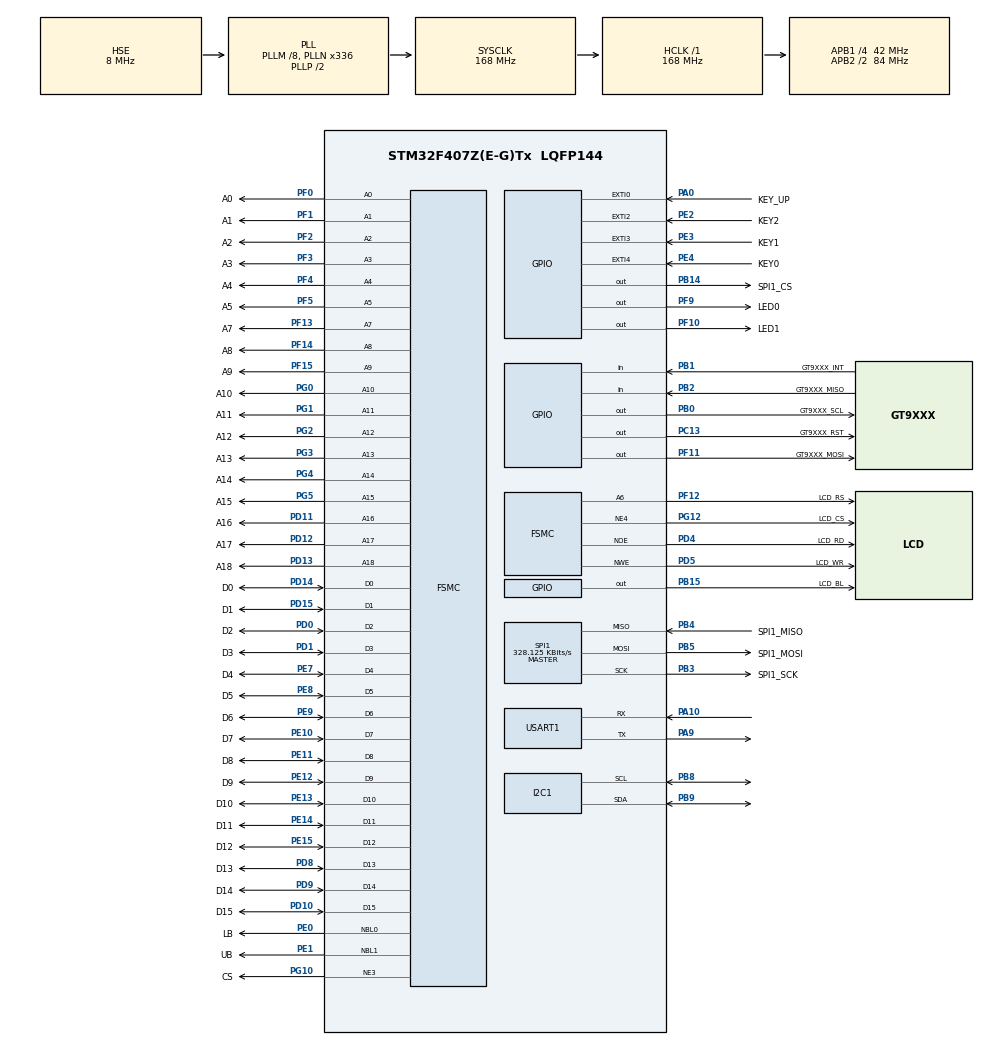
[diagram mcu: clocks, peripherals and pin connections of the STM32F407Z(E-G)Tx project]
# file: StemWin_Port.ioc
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FSMC.AddressSetupTime1=2
FSMC.BusTurnAroundDuration1=0
FSMC.DataSetupTime1=8
FSMC.DataSetupTime2=60
FSMC.ExtendedAddressSetupTime2=9
FSMC.ExtendedDataSetupTime2=9
FSMC.ExtendedMode2=FSMC_EXTENDED_MODE_ENABLE
FSMC.WriteOperation1=FSMC_WRITE_OPERATION_ENABLE
Mcu.Family=STM32F4
Mcu.Name=STM32F407Z(E-G)Tx
Mcu.Package=LQFP144
NVIC.EXTI0_IRQn=true\:3\:1\:true\:false\:true\:true\:true
NVIC.EXTI2_IRQn=true\:3\:1\:true\:false\:true\:true\:true
NVIC.EXTI3_IRQn=true\:3\:1\:true\:false\:true\:true\:true
NVIC.EXTI4_IRQn=true\:3\:1\:true\:false\:true\:true\:true
NVIC.PriorityGroup=NVIC_PRIORITYGROUP_2
NVIC.TIM6_DAC_IRQn=true\:1\:3\:true\:false\:true\:true\:true
PA0-WKUP.GPIO_Label=KEY_UP
PA0-WKUP.GPIO_ModeDefaultEXTI=GPIO_MODE_IT_RISING
PA0-WKUP.GPIO_PuPd=GPIO_PULLDOWN
PA0-WKUP.Signal=GPXTI0
PA10.Mode=Asynchronous
PA10.Signal=USART1_RX
PA13.Mode=Serial_Wire
PA13.Signal=SYS_JTMS-SWDIO
PA14.Mode=Serial_Wire
PA14.Signal=SYS_JTCK-SWCLK
PA9.Mode=Asynchronous
PA9.Signal=USART1_TX
PB0.GPIO_Label=GT9XXX_SCL
PB0.GPIO_PuPd=GPIO_PULLUP
PB0.GPIO_Speed=GPIO_SPEED_FREQ_VERY_HIGH
PB0.Signal=GPIO_Output
PB1.GPIO_Label=GT9XXX_INT
PB1.Signal=GPIO_Input
PB14.GPIO_Label=SPI1_CS
PB14.GPIO_PuPd=GPIO_PULLUP
PB14.GPIO_Speed=GPIO_SPEED_FREQ_HIGH
PB14.PinState=GPIO_PIN_SET
PB14.Signal=GPIO_Output
PB15.GPIO_Label=LCD_BL
PB15.GPIO_PuPd=GPIO_PULLDOWN
PB15.GPIO_Speed=GPIO_SPEED_FREQ_HIGH
PB15.PinState=GPIO_PIN_SET
PB15.Signal=GPIO_Output
PB2.GPIO_Label=GT9XXX_MISO
PB2.GPIO_PuPd=GPIO_PULLUP
PB2.Signal=GPIO_Input
PB3.GPIO_Label=SPI1_SCK
PB3.GPIO_PuPd=GPIO_PULLUP
PB3.Mode=Full_Duplex_Master
PB3.Signal=SPI1_SCK
PB4.GPIO_Label=SPI1_MISO
PB4.GPIO_PuPd=GPIO_PULLUP
PB4.Mode=Full_Duplex_Master
PB4.Signal=SPI1_MISO
PB5.GPIO_Label=SPI1_MOSI
PB5.GPIO_PuPd=GPIO_PULLUP
PB5.Mode=Full_Duplex_Master
PB5.Signal=SPI1_MOSI
PB8.Mode=I2C
PB8.Signal=I2C1_SCL
PB9.Mode=I2C
PB9.Signal=I2C1_SDA
PC13-ANTI_TAMP.GPIO_Label=GT9XXX_RST
PC13-ANTI_TAMP.GPIO_PuPd=GPIO_PULLUP
PC13-ANTI_TAMP.Signal=GPIO_Output
PD0.GPIO_Label=D2
PD0.GPIO_PuPd=GPIO_PULLUP
PD0.Signal=FSMC_D2_DA2
PD1.GPIO_Label=D3
PD1.GPIO_PuPd=GPIO_PULLUP
PD1.Signal=FSMC_D3_DA3
PD10.GPIO_Label=D15
PD10.GPIO_PuPd=GPIO_PULLUP
PD10.Signal=FSMC_D15_DA15
PD11.GPIO_Label=A16
PD11.GPIO_PuPd=GPIO_PULLUP
PD11.Signal=FSMC_A16_CLE
PD12.GPIO_Label=A17
PD12.GPIO_PuPd=GPIO_PULLUP
PD12.Signal=FSMC_A17_ALE
PD13.GPIO_Label=A18
PD13.GPIO_PuPd=GPIO_PULLUP
PD13.Signal=FSMC_A18
PD14.GPIO_Label=D0
PD14.GPIO_PuPd=GPIO_PULLUP
PD14.Signal=FSMC_D0_DA0
PD15.GPIO_Label=D1
PD15.GPIO_PuPd=GPIO_PULLUP
PD15.Signal=FSMC_D1_DA1
PD4.GPIO_Label=LCD_RD
PD4.GPIO_PuPd=GPIO_PULLUP
PD4.Signal=FSMC_NOE
PD5.GPIO_Label=LCD_WR
PD5.GPIO_PuPd=GPIO_PULLUP
PD5.Signal=FSMC_NWE
PD8.GPIO_Label=D13
PD8.GPIO_PuPd=GPIO_PULLUP
PD8.Signal=FSMC_D13_DA13
PD9.GPIO_Label=D14
PD9.GPIO_PuPd=GPIO_PULLUP
PD9.Signal=FSMC_D14_DA14
PE0.GPIO_Label=LB
PE0.GPIO_PuPd=GPIO_PULLUP
PE0.Signal=FSMC_NBL0
PE1.GPIO_Label=UB
PE1.GPIO_PuPd=GPIO_PULLUP
PE1.Signal=FSMC_NBL1
PE10.GPIO_Label=D7
PE10.GPIO_PuPd=GPIO_PULLUP
PE10.Signal=FSMC_D7_DA7
PE11.GPIO_Label=D8
PE11.GPIO_PuPd=GPIO_PULLUP
PE11.Signal=FSMC_D8_DA8
PE12.GPIO_Label=D9
PE12.GPIO_PuPd=GPIO_PULLUP
PE12.Signal=FSMC_D9_DA9
PE13.GPIO_Label=D10
PE13.GPIO_PuPd=GPIO_PULLUP
PE13.Signal=FSMC_D10_DA10
PE14.GPIO_Label=D11
PE14.GPIO_PuPd=GPIO_PULLUP
PE14.Signal=FSMC_D11_DA11
PE15.GPIO_Label=D12
PE15.GPIO_PuPd=GPIO_PULLUP
PE15.Signal=FSMC_D12_DA12
PE2.GPIO_Label=KEY2
PE2.GPIO_ModeDefaultEXTI=GPIO_MODE_IT_FALLING
PE2.GPIO_PuPd=GPIO_PULLUP
PE2.Signal=GPXTI2
PE3.GPIO_Label=KEY1
PE3.GPIO_ModeDefaultEXTI=GPIO_MODE_IT_FALLING
PE3.GPIO_PuPd=GPIO_PULLUP
PE3.Signal=GPXTI3
PE4.GPIO_Label=KEY0
PE4.GPIO_ModeDefaultEXTI=GPIO_MODE_IT_FALLING
PE4.GPIO_PuPd=GPIO_PULLUP
PE4.Signal=GPXTI4
PE7.GPIO_Label=D4
PE7.GPIO_PuPd=GPIO_PULLUP
PE7.Signal=FSMC_D4_DA4
PE8.GPIO_Label=D5
PE8.GPIO_PuPd=GPIO_PULLUP
PE8.Signal=FSMC_D5_DA5
PE9.GPIO_Label=D6
PE9.GPIO_PuPd=GPIO_PULLUP
PE9.Signal=FSMC_D6_DA6
PF0.GPIO_Label=A0
PF0.GPIO_PuPd=GPIO_PULLUP
PF0.Signal=FSMC_A0
PF1.GPIO_Label=A1
PF1.GPIO_PuPd=GPIO_PULLUP
PF1.Signal=FSMC_A1
PF10.GPIO_Label=LED1
PF10.GPIO_PuPd=GPIO_PULLUP
PF10.PinState=GPIO_PIN_SET
PF10.Signal=GPIO_Output
PF11.GPIO_Label=GT9XXX_MOSI
PF11.GPIO_ModeDefaultOutputPP=GPIO_MODE_OUTPUT_OD
PF11.GPIO_PuPd=GPIO_PULLUP
PF11.GPIO_Speed=GPIO_SPEED_FREQ_VERY_HIGH
PF11.Signal=GPIO_Output
PF12.GPIO_Label=LCD_RS
PF12.GPIO_PuPd=GPIO_PULLUP
PF12.Signal=FSMC_A6
PF13.GPIO_Label=A7
PF13.GPIO_PuPd=GPIO_PULLUP
PF13.Signal=FSMC_A7
PF14.GPIO_Label=A8
PF14.GPIO_PuPd=GPIO_PULLUP
PF14.Signal=FSMC_A8
PF15.GPIO_Label=A9
PF15.GPIO_PuPd=GPIO_PULLUP
PF15.Signal=FSMC_A9
PF2.GPIO_Label=A2
PF2.Signal=FSMC_A2
PF3.GPIO_Label=A3
PF3.GPIO_PuPd=GPIO_PULLUP
PF3.Signal=FSMC_A3
PF4.GPIO_Label=A4
PF4.GPIO_PuPd=GPIO_PULLUP
PF4.Signal=FSMC_A4
PF5.GPIO_Label=A5
PF5.GPIO_PuPd=GPIO_PULLUP
PF5.Signal=FSMC_A5
PF9.GPIO_Label=LED0
PF9.GPIO_PuPd=GPIO_PULLUP
PF9.PinState=GPIO_PIN_SET
PF9.Signal=GPIO_Output
PG0.GPIO_Label=A10
PG0.GPIO_PuPd=GPIO_PULLUP
PG0.Signal=FSMC_A10
PG1.GPIO_Label=A11
PG1.GPIO_PuPd=GPIO_PULLUP
PG1.Signal=FSMC_A11
PG10.GPIO_Label=CS
PG10.GPIO_PuPd=GPIO_PULLUP
PG10.Mode=NorPsramChipSelect3_1
PG10.Signal=FSMC_NE3
PG12.GPIO_Label=LCD_CS
PG12.GPIO_PuPd=GPIO_PULLUP
PG12.GPIO_Speed_High_Default=GPIO_SPEED_FREQ_VERY_HIGH
PG12.Mode=NorPsramChipSelect4_2
PG12.Signal=FSMC_NE4
PG2.GPIO_Label=A12
PG2.GPIO_PuPd=GPIO_PULLUP
PG2.Signal=FSMC_A12
PG3.GPIO_Label=A13
PG3.GPIO_PuPd=GPIO_PULLUP
PG3.Signal=FSMC_A13
PG4.GPIO_Label=A14
PG4.GPIO_PuPd=GPIO_PULLUP
PG4.Signal=FSMC_A14
PG5.GPIO_Label=A15
PG5.GPIO_PuPd=GPIO_PULLUP
PG5.Signal=FSMC_A15
PH0-OSC_IN.Mode=HSE-External-Oscillator
PH0-OSC_IN.Signal=RCC_OSC_IN
PH1-OSC_OUT.Mode=HSE-External-Oscillator
PH1-OSC_OUT.Signal=RCC_OSC_OUT
ProjectManager.HeapSize=0x200
ProjectManager.StackSize=0x400
ProjectManager.TargetToolchain=MDK-ARM V5
RCC.48MHZClocksFreq_Value=84000000
RCC.AHBFreq_Value=168000000
RCC.APB1CLKDivider=RCC_HCLK_DIV4
RCC.APB1Freq_Value=42000000
RCC.APB1TimFreq_Value=84000000
RCC.APB2CLKDivider=RCC_HCLK_DIV2
RCC.APB2Freq_Value=84000000
RCC.APB2TimFreq_Value=168000000
RCC.CortexFreq_Value=168000000
RCC.HCLKFreq_Value=168000000
RCC.HSE_VALUE=8000000
RCC.HSI_VALUE=16000000
RCC.LSE_VALUE=32768
RCC.PLLM=8
RCC.PLLN=336
RCC.PLLSourceVirtual=RCC_PLLSOURCE_HSE
RCC.SYSCLKFreq_VALUE=168000000
RCC.SYSCLKSource=RCC_SYSCLKSOURCE_PLLCLK
RCC.VCOOutputFreq_Value=336000000
SH.FSMC_A0.0=FSMC_A0,19b-a1
SH.FSMC_A1.0=FSMC_A1,19b-a1
SH.FSMC_A10.0=FSMC_A10,19b-a1
SH.FSMC_A11.0=FSMC_A11,19b-a1
SH.FSMC_A12.0=FSMC_A12,19b-a1
SH.FSMC_A13.0=FSMC_A13,19b-a1
SH.FSMC_A14.0=FSMC_A14,19b-a1
SH.FSMC_A15.0=FSMC_A15,19b-a1
SH.FSMC_A16_CLE.0=FSMC_A16,19b-a1
SH.FSMC_A17_ALE.0=FSMC_A17,19b-a1
SH.FSMC_A18.0=FSMC_A18,19b-a1
SH.FSMC_A2.0=FSMC_A2,19b-a1
SH.FSMC_A3.0=FSMC_A3,19b-a1
SH.FSMC_A4.0=FSMC_A4,19b-a1
SH.FSMC_A5.0=FSMC_A5,19b-a1
SH.FSMC_A6.0=FSMC_A6,A6_2
SH.FSMC_A6.1=FSMC_A6,19b-a1
SH.FSMC_A7.0=FSMC_A7,19b-a1
SH.FSMC_A8.0=FSMC_A8,19b-a1
SH.FSMC_A9.0=FSMC_A9,19b-a1
SH.FSMC_D0_DA0.0=FSMC_D0,16b-d2
SH.FSMC_D0_DA0.1=FSMC_D0,16b-d1
SH.FSMC_D10_DA10.0=FSMC_D10,16b-d2
SH.FSMC_D10_DA10.1=FSMC_D10,16b-d1
SH.FSMC_D11_DA11.0=FSMC_D11,16b-d2
SH.FSMC_D11_DA11.1=FSMC_D11,16b-d1
SH.FSMC_D12_DA12.0=FSMC_D12,16b-d2
SH.FSMC_D12_DA12.1=FSMC_D12,16b-d1
SH.FSMC_D13_DA13.0=FSMC_D13,16b-d2
SH.FSMC_D13_DA13.1=FSMC_D13,16b-d1
SH.FSMC_D14_DA14.0=FSMC_D14,16b-d2
SH.FSMC_D14_DA14.1=FSMC_D14,16b-d1
SH.FSMC_D15_DA15.0=FSMC_D15,16b-d2
SH.FSMC_D15_DA15.1=FSMC_D15,16b-d1
SH.FSMC_D1_DA1.0=FSMC_D1,16b-d2
SH.FSMC_D1_DA1.1=FSMC_D1,16b-d1
SH.FSMC_D2_DA2.0=FSMC_D2,16b-d2
SH.FSMC_D2_DA2.1=FSMC_D2,16b-d1
SH.FSMC_D3_DA3.0=FSMC_D3,16b-d2
SH.FSMC_D3_DA3.1=FSMC_D3,16b-d1
SH.FSMC_D4_DA4.0=FSMC_D4,16b-d2
SH.FSMC_D4_DA4.1=FSMC_D4,16b-d1
SH.FSMC_D5_DA5.0=FSMC_D5,16b-d2
SH.FSMC_D5_DA5.1=FSMC_D5,16b-d1
SH.FSMC_D6_DA6.0=FSMC_D6,16b-d2
SH.FSMC_D6_DA6.1=FSMC_D6,16b-d1
SH.FSMC_D7_DA7.0=FSMC_D7,16b-d2
SH.FSMC_D7_DA7.1=FSMC_D7,16b-d1
SH.FSMC_D8_DA8.0=FSMC_D8,16b-d2
SH.FSMC_D8_DA8.1=FSMC_D8,16b-d1
SH.FSMC_D9_DA9.0=FSMC_D9,16b-d2
SH.FSMC_D9_DA9.1=FSMC_D9,16b-d1
SH.FSMC_NBL0.0=FSMC_NBL0,2ByteEnable1
SH.FSMC_NBL1.0=FSMC_NBL1,2ByteEnable1
SH.FSMC_NOE.0=FSMC_NOE,Lcd2
SH.FSMC_NOE.1=FSMC_NOE,Sram1
SH.FSMC_NWE.0=FSMC_NWE,Lcd2
SH.FSMC_NWE.1=FSMC_NWE,Sram1
SPI1.BaudRatePrescaler=SPI_BAUDRATEPRESCALER_256
SPI1.CLKPhase=SPI_PHASE_2EDGE
SPI1.CLKPolarity=SPI_POLARITY_HIGH
SPI1.CalculateBaudRate=328.125 KBits/s
SPI1.Direction=SPI_DIRECTION_2LINES
SPI1.Mode=SPI_MODE_MASTER
SPI1.VirtualType=VM_MASTER
TIM6.AutoReloadPreload=TIM_AUTORELOAD_PRELOAD_ENABLE
TIM6.Period=1000-1
TIM6.Prescaler=84-1
TIM6.TIM_MasterOutputTrigger=TIM_TRGO_ENABLE
USART1.VirtualMode=VM_ASYNC
VP_CRC_VS_CRC.Mode=CRC_Activate
VP_TIM6_VS_ClockSourceINT.Mode=Enable_Timer
board=custom

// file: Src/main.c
/* USER CODE BEGIN Header */
/**
  ******************************************************************************
  * @file           : main.c
  * @brief          : Main program body
  ******************************************************************************
  * @attention
  *
  * <h2><center>&copy; Copyright (c) 2024 STMicroelectronics.
  * All rights reserved.</center></h2>
  *
  * This software component is licensed by ST under BSD 3-Clause license,
  * the "License"; You may not use this file except in compliance with the
  * License. You may obtain a copy of the License at:
  *                        opensource.org/licenses/BSD-3-Clause
  *
  ******************************************************************************
  */
/* USER CODE END Header */

#include "main.h"
#include "crc.h"
#include "i2c.h"
#include "spi.h"
#include "tim.h"
#include "usart.h"
#include "gpio.h"
#include "fsmc.h"

/* USER CODE BEGIN Includes */
#include "delay.h"
#include "lcd.h"
#include "touch.h"
#include "exti.h"
#include "norflash.h"
#include "sram.h"
#include "mymalloc.h"

#include "GUI.h"  //GUI_PID_STATE
#include "GUIDEMO.h" //GUIDEMO_Main
#include "WM.h"
/* USER CODE END Includes */

/* USER CODE BEGIN PV */
uint8_t lcd_id[12];
uint16_t colors[12] = {WHITE, BLACK, BLUE, RED, MAGENTA, GREEN, CYAN, YELLOW, BRRED, GRAY, LGRAY, BROWN};uint8_t color_index = 0;
uint8_t cur_brightness;
uint8_t* str[23];

/* 10个触控点的颜色(电容触摸屏用) */
const uint16_t POINT_COLOR_TBL[10] = {RED, GREEN, BLUE, BROWN, YELLOW, MAGENTA, CYAN, LIGHTBLUE, BRRED, GRAY};

uint8_t IS_KEY0_PRES = 0;  /* KEY0是否按下 */
/* USER CODE END PV */

void SystemClock_Config(void);

int main(void)
{

  /* MCU Configuration--------------------------------------------------------*/

  /* Reset of all peripherals, Initializes the Flash interface and the Systick. */
  HAL_Init();

  /* Configure the system clock */
  SystemClock_Config();

  /* Initialize all configured peripherals */
  MX_GPIO_Init();
  MX_USART1_UART_Init();
  MX_FSMC_Init();
  MX_I2C1_Init();
  MX_SPI1_Init();
  MX_CRC_Init();
  MX_TIM6_Init();
  /* USER CODE BEGIN 2 */
	delay_init(168);                        /* 延时初始化 */
	lcd_init();                             /* 初始化LCD */
  g_point_color = RED;
  sprintf((char *)lcd_id, "LCD ID:%04X", lcddev.id);  /* 将LCD ID打印到lcd_id数组 */
	//HAL_GPIO_WritePin(LED1_GPIO_Port, LED1_Pin, GPIO_PIN_RESET);  //LED1亮
	lcd_set_backlight_by_pwm(0xFF); // 设置占空比为255,开启背光最亮

	cur_brightness = lcd_get_backlight_by_pwm(); //获取当前背光值
	sprintf((char*)str, "current brightness:%3u", cur_brightness);

	lcd_clear(colors[color_index]);  //清屏
	lcd_show_string(10, 40, 240, 32, 32, "STM32", RED);
	lcd_show_string(10, 80, 240, 24, 24, "TFTLCD TEST", RED);
	lcd_show_string(10, 110, 240, 16, 16, "ATOM@ALIENTEK", RED);
	lcd_show_string(10, 130, 240, 16, 16, (char *)lcd_id, RED); /* 显示LCD ID */
	lcd_show_string(10, 150, 240, 16, 16, (char *)str, RED); /* 显示亮度 */
	lcd_show_string(10, 170, 200, 16, 16, "KEY0:Test Touch!", RED);
	lcd_show_string(10, 190, 200, 16, 16, "KEY1:Test norflash!", RED);
	lcd_show_string(10, 210, 200, 16, 16, "KEY2:Test SRAM!", RED);
	lcd_show_string(10, 230, 280, 16, 16, "KEY_UP:Test emWin get touch location!", RED);

	//screen touch init
	uint8_t res = tp_dev.init();                      // 触摸屏初始化

	lcd_fill(10, 80, 240, 80, WHITE);    /* 清除显示 */
	lcd_show_string(10, 80, 200, 24, 24, "TOUCH TEST", RED);

	if(!res){
		lcd_show_string(10, 250, 200, 16, 16, "LCD Touch init Successful!", RED);
	}

	norflash_init();  //初始化norflash
	uint16_t id = norflash_read_id();
	printf("norflash id is %d\n", id);
	lcd_show_string(10, 270, 200, 16, 16, "norflash id is", RED);
	lcd_show_xnum(10+120, 270, id, 5, 16, 0, BLUE);
	sprintf((char *)datatemp, "%s", (char *)g_text_buf);
	while ((id == 0) || (id == 0xFFFF)) /* 检测不到FLASH芯片 */ {
		printf("FLASH Check Failed!\n");
		lcd_fill(10, 270, 240, 80, WHITE);    /* 清除显示 */
		lcd_show_string(10, 270, 200, 16, 16, "FLASH Check Failed!", RED);
		HAL_Delay(500);
		printf("Please Check! \n");
		lcd_fill(10, 270, 240, 80, WHITE);    /* 清除显示 */
		lcd_show_string(10, 270, 200, 16, 16, "Please Check!", RED);
		HAL_Delay(500);
	}

	sram_init();                        /* SRAM初始化 */

	my_mem_init(SRAMIN);                /* 初始化内部SRAM内存池 */
	my_mem_init(SRAMEX);                /* 初始化外部SRAM内存池 */
	my_mem_init(SRAMCCM);               /* 初始化内部CCM内存池 */
	lcd_show_string(10, 290, 200, 16, 16, "SRAM init Successful!", RED);

	//启动TIM6定时器中断
	if (HAL_TIM_Base_Start_IT(&htim6) != HAL_OK)
	{
			Error_Handler();
			printf("TIM6 Start IT ERROR!\n");
	}
	lcd_display_dir(1);  //设置横屏显示
	GUI_Init();  //emWin初始化
	GUIDEMO_Main();  //GUIDEMO入口

  /* USER CODE END 2 */

  /* Infinite loop */
  /* USER CODE BEGIN WHILE */
  while (1)
  {
		HAL_GPIO_TogglePin(LED0_GPIO_Port, LED0_Pin); /* LED0闪烁 */
		HAL_Delay(300);
    /* USER CODE END WHILE */

  }
}

void SystemClock_Config(void)
{
  RCC_OscInitTypeDef RCC_OscInitStruct = {0};
  RCC_ClkInitTypeDef RCC_ClkInitStruct = {0};

  /** Configure the main internal regulator output voltage
  */
  __HAL_RCC_PWR_CLK_ENABLE();
  __HAL_PWR_VOLTAGESCALING_CONFIG(PWR_REGULATOR_VOLTAGE_SCALE1);
  /** Initializes the CPU, AHB and APB busses clocks
  */
  RCC_OscInitStruct.OscillatorType = RCC_OSCILLATORTYPE_HSE;
  RCC_OscInitStruct.HSEState = RCC_HSE_ON;
  RCC_OscInitStruct.PLL.PLLState = RCC_PLL_ON;
  RCC_OscInitStruct.PLL.PLLSource = RCC_PLLSOURCE_HSE;
  RCC_OscInitStruct.PLL.PLLM = 8;
  RCC_OscInitStruct.PLL.PLLN = 336;
  RCC_OscInitStruct.PLL.PLLP = RCC_PLLP_DIV2;
  RCC_OscInitStruct.PLL.PLLQ = 4;
  if (HAL_RCC_OscConfig(&RCC_OscInitStruct) != HAL_OK)
  {
    Error_Handler();
  }
  /** Initializes the CPU, AHB and APB busses clocks
  */
  RCC_ClkInitStruct.ClockType = RCC_CLOCKTYPE_HCLK|RCC_CLOCKTYPE_SYSCLK
                              |RCC_CLOCKTYPE_PCLK1|RCC_CLOCKTYPE_PCLK2;
  RCC_ClkInitStruct.SYSCLKSource = RCC_SYSCLKSOURCE_PLLCLK;
  RCC_ClkInitStruct.AHBCLKDivider = RCC_SYSCLK_DIV1;
  RCC_ClkInitStruct.APB1CLKDivider = RCC_HCLK_DIV4;
  RCC_ClkInitStruct.APB2CLKDivider = RCC_HCLK_DIV2;

  if (HAL_RCC_ClockConfig(&RCC_ClkInitStruct, FLASH_LATENCY_5) != HAL_OK)
  {
    Error_Handler();
  }
}

/* USER CODE BEGIN 4 */
/**
 * @brief       清空屏幕并在右上角显示 "RST"
 * @param       无
 * @retval      无
 */
void load_draw_dialog(void)
{
    lcd_clear(WHITE);                                                /* 清屏 */
    lcd_show_string(lcddev.width - 24, 0, 200, 16, 16, "RST", BLUE); /* 显示清屏区域 */
		lcd_show_string(0, 0, 200, 16, 16, "EXIT", RED); /* 显示清屏区域 */
}

/**
 * @brief       画粗线
 * @param       x1,y1: 起点坐标
 * @param       x2,y2: 终点坐标
 * @param       size : 线条粗细程度
 * @param       color: 线的颜色
 * @retval      无
 */
void lcd_draw_bline(uint16_t x1, uint16_t y1, uint16_t x2, uint16_t y2, uint8_t size, uint16_t color)
{
    uint16_t t;
    int xerr = 0, yerr = 0, delta_x, delta_y, distance;
    int incx, incy, row, col;

    if (x1 < size || x2 < size || y1 < size || y2 < size)
        return;

    delta_x = x2 - x1; /* 计算坐标增量 */
    delta_y = y2 - y1;
    row = x1;
    col = y1;

    if (delta_x > 0)
    {
        incx = 1; /* 设置单步方向 */
    }
    else if (delta_x == 0)
    {
        incx = 0; /* 垂直线 */
    }
    else
    {
        incx = -1;
        delta_x = -delta_x;
    }

    if (delta_y > 0)
    {
        incy = 1;
    }
    else if (delta_y == 0)
    {
        incy = 0; /* 水平线 */
    }
    else
    {
        incy = -1;
        delta_y = -delta_y;
    }

    if (delta_x > delta_y)
        distance = delta_x; /* 选取基本增量坐标轴 */
    else
        distance = delta_y;

    for (t = 0; t <= distance + 1; t++) /* 画线输出 */
    {
        lcd_fill_circle(row, col, size, color); /* 画点 */
        xerr += delta_x;
        yerr += delta_y;

        if (xerr > distance)
        {
            xerr -= distance;
            row += incx;
        }

        if (yerr > distance)
        {
            yerr -= distance;
            col += incy;
        }
    }
}

/**
 * @brief       电阻触摸屏测试函数
 * @param       无
 * @retval      无
 */
void rtp_test(void)
{
    uint8_t key;
    uint8_t i = 0;

    while (1)
    {
        key = IS_KEY0_PRES;
        tp_dev.scan(0);

        if (tp_dev.sta & TP_PRES_DOWN)  /* 触摸屏被按下 */
        {
            if (tp_dev.x[0] < lcddev.width && tp_dev.y[0] < lcddev.height)
            {
                if (tp_dev.x[0] > (lcddev.width - 24) && tp_dev.y[0] < 16)
                {
                    load_draw_dialog(); /* 清除 */
                }
                else
                {
                    tp_draw_big_point(tp_dev.x[0], tp_dev.y[0], RED);   /* 画点 */
                }
            }
        }
        else
        {
            delay_ms(10);       /* 没有按键按下的时候 */
        }

        if (key == 1)   /* KEY0按下,则执行校准程序 */
        {
            lcd_clear(WHITE);   /* 清屏 */
            tp_adjust();        /* 屏幕校准 */
            tp_save_adjust_data();
            load_draw_dialog();
        }

        i++;

        if (i % 20 == 0)HAL_GPIO_TogglePin(LED0_GPIO_Port, LED0_Pin); /* LED0闪烁 */
    }
}

/**
 * @brief       电容触摸屏测试函数
 * @param       无
 * @retval      无
 */
void ctp_test(void)
{
		printf("ctp_test!\n");
    uint8_t t = 0;
    uint8_t i = 0;
    uint16_t lastpos[10][2];        /* 最后一次的数据 */
    uint8_t maxp = 5;

    if (lcddev.id == 0x1018)maxp = 10;

    while (IS_KEY0_PRES)
    {
        tp_dev.scan(0);

        for (t = 0; t < maxp; t++)
        {
            if ((tp_dev.sta) & (1 << t))
            {
                if (tp_dev.x[t] < lcddev.width && tp_dev.y[t] < lcddev.height)  /* 坐标在屏幕范围内 */
                {
                    if (lastpos[t][0] == 0xFFFF)
                    {
                        lastpos[t][0] = tp_dev.x[t];
                        lastpos[t][1] = tp_dev.y[t];
                    }

                    lcd_draw_bline(lastpos[t][0], lastpos[t][1], tp_dev.x[t], tp_dev.y[t], 2, POINT_COLOR_TBL[t]);  /* 画线 */
                    lastpos[t][0] = tp_dev.x[t];
                    lastpos[t][1] = tp_dev.y[t];

                    if (tp_dev.x[t] > (lcddev.width - 24) && tp_dev.y[t] < 20)  //按RST
                    {
                        load_draw_dialog(); /* 清除 */
                    }

										if (tp_dev.x[t] < 32 && tp_dev.y[t] < 20) //按EXIT
                    {
												lcd_clear(colors[color_index]);  //清屏
												lcd_show_string(10, 40, 240, 32, 32, "STM32", RED);
												lcd_show_string(10, 80, 240, 24, 24, "TOUCH TEST", RED);
												lcd_show_string(10, 110, 240, 16, 16, "ATOM@ALIENTEK", RED);
												lcd_show_string(10, 130, 240, 16, 16, (char *)lcd_id, RED); /* 显示LCD ID */
												lcd_show_string(10, 150, 240, 16, 16, (char *)str, RED); /* 显示亮度 */
												lcd_show_string(10, 170, 200, 16, 16, "KEY0:Test Touch!", RED);
												lcd_show_string(10, 190, 200, 16, 16, "KEY1:Test norflash!", RED);
												lcd_show_string(10, 210, 200, 16, 16, "KEY2:Test SRAM!", RED);
                        return;  //退出测试死循环
                    }
                }
            }
            else
            {
                lastpos[t][0] = 0xFFFF;
            }
        }

        delay_ms(5);
        i++;

        if (i % 20 == 0)
        {
            HAL_GPIO_TogglePin(LED0_GPIO_Port, LED0_Pin); /* LED0闪烁 */
        }
    }
}

void emwin_test_touch(void){
	GUI_PID_STATE State;
	GUI_Init();
	GUI_SetBkColor(GUI_BLUE);
	GUI_SetFont(&GUI_Font20_ASCII);
	GUI_SetColor(GUI_YELLOW);
	GUI_Clear();
	while(1){
		//执行触摸笔检测
		GUI_TOUCH_Exec();
		//获取触摸笔状态值
		GUI_TOUCH_GetState(&State);
		//是否按下
		if(State.Pressed){
			//打印触摸笔坐标信息
			GUI_DispStringAt("X:", 0, 0);
			GUI_DispDecAt(State.x, 32, 0, 4);
			GUI_DispStringAt("Y:", 0, 24);
			GUI_DispDecAt(State.y, 32, 24, 4);

			GUI_DispStringAt("EXIT", lcddev.width - 40, 0);
		}

		delay_ms(10);
		if (State.x > lcddev.width - 40 && State.y < 20) //按EXIT
		{
				GUI_SetBkColor(GUI_WHITE);
				GUI_Clear();
				lcd_show_string(10, 40, 240, 32, 32, "STM32", RED);
				lcd_show_string(10, 80, 240, 24, 24, "TOUCH TEST", RED);
				lcd_show_string(10, 110, 240, 16, 16, "ATOM@ALIENTEK", RED);
				lcd_show_string(10, 130, 240, 16, 16, (char *)lcd_id, RED); /* 显示LCD ID */
				lcd_show_string(10, 150, 240, 16, 16, (char *)str, RED); /* 显示亮度 */
				lcd_show_string(10, 170, 200, 16, 16, "KEY0:Test Touch!", RED);
				lcd_show_string(10, 190, 200, 16, 16, "KEY1:Test norflash!", RED);
				lcd_show_string(10, 210, 200, 16, 16, "KEY2:Test SRAM!", RED);
				return;  //退出测试死循环
		}
	}
}
/* USER CODE END 4 */

void Error_Handler(void)
{
}

/************************ (C) COPYRIGHT STMicroelectronics *****END OF FILE****/
